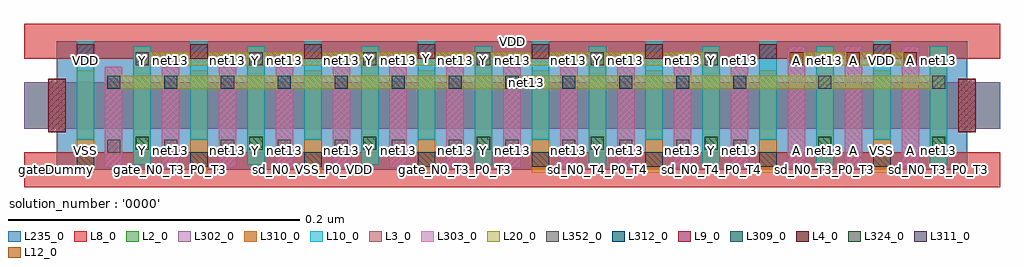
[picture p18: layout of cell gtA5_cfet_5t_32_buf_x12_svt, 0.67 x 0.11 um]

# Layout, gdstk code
import gdstk
lib = gdstk.Library(unit=1e-6, precision=2.5e-10)
def R(c, l, rs):  # rectangles x0, y0, x1, y1
    for r in rs: c.add(gdstk.rectangle(r[:2], r[2:], *l))
def A(c, l, x, y, w, h, nx, ny, dx, dy):  # array of equal rectangles
    R(c, l, [(x+i*dx, y+j*dy, x+i*dx+w, y+j*dy+h) for i in range(nx) for j in range(ny)])
L2_0 = (2, 0)
L3_0 = (3, 0)
L4_0 = (4, 0)
L8_0 = (8, 0)
L9_0 = (9, 0)
L10_0 = (10, 0)
L12_0 = (12, 0)
L20_0 = (20, 0)
L235_0 = (235, 0)
L302_0 = (302, 0)
L303_0 = (303, 0)
L309_0 = (309, 0)
L310_0 = (310, 0)
L311_0 = (311, 0)
L312_0 = (312, 0)
L324_0 = (324, 0)
L352_0 = (352, 0)

gta5_cfet_5t_32_buf_x12_ = lib.new_cell('gtA5_cfet_5t_32_buf_x12_svt')
R(gta5_cfet_5t_32_buf_x12_, L2_0, [(-0.0225,0.028,0.6465,0.06)])
A(gta5_cfet_5t_32_buf_x12_, L3_0, 0.033, 0.0015, 0.012, 0.069, 12, 1, 0.039, 0)
A(gta5_cfet_5t_32_buf_x12_, L3_0, 0.501, 0.0015, 0.012, 0.083, 3, 1, 0.039, 0)
R(gta5_cfet_5t_32_buf_x12_, L3_0, [(-0.006,0.0255,0.006,0.0625), (0.618,0.0255,0.63,0.0625)])
R(gta5_cfet_5t_32_buf_x12_, L4_0, [(-0.006,0.0255,0.006,0.0625), (0.618,0.0255,0.63,0.0625)])
R(gta5_cfet_5t_32_buf_x12_, L8_0, [(-0.0225,-0.012,0.6465,0.012), (-0.0225,0.076,0.6465,0.1)])
A(gta5_cfet_5t_32_buf_x12_, L9_0, 0.0135, 0.076, 0.012, 0.01, 8, 1, 0.078, 0)
A(gta5_cfet_5t_32_buf_x12_, L10_0, 0.0525, 0.0035, 0.012, 0.081, 8, 1, 0.078, 0)
A(gta5_cfet_5t_32_buf_x12_, L10_0, 0.0135, 0.0205, 0.012, 0.0675, 8, 1, 0.078, 0)
A(gta5_cfet_5t_32_buf_x12_, L12_0, 0.5025, 0.0715, 0.009, 0.009, 3, 1, 0.039, 0)
R(gta5_cfet_5t_32_buf_x12_, L20_0, [(0.0345,0.0555,0.609,0.0645), (0.054,0.0715,0.453,0.0805), (0.5025,0.0715,0.5895,0.0805)])
R(gta5_cfet_5t_32_buf_x12_, L235_0, [(0,0,0.624,0.088)])
R(gta5_cfet_5t_32_buf_x12_, L302_0, [(-0.0225,0.028,0.6465,0.06)])
A(gta5_cfet_5t_32_buf_x12_, L303_0, 0.033, 0.0015, 0.012, 0.069, 12, 1, 0.039, 0)
A(gta5_cfet_5t_32_buf_x12_, L303_0, 0.501, 0.0015, 0.012, 0.083, 3, 1, 0.039, 0)
R(gta5_cfet_5t_32_buf_x12_, L303_0, [(-0.006,0.0255,0.006,0.0625), (0.618,0.0255,0.63,0.0625)])
A(gta5_cfet_5t_32_buf_x12_, L309_0, 0.0135, 0.002, 0.012, 0.01, 8, 1, 0.078, 0)
A(gta5_cfet_5t_32_buf_x12_, L310_0, 0.0135, -0.002, 0.012, 0.07, 8, 1, 0.078, 0)
A(gta5_cfet_5t_32_buf_x12_, L310_0, 0.0525, 0.0035, 0.012, 0.081, 8, 1, 0.078, 0)
A(gta5_cfet_5t_32_buf_x12_, L311_0, 0.054, 0.0715, 0.009, 0.009, 6, 1, 0.078, 0)
R(gta5_cfet_5t_32_buf_x12_, L311_0, [(0.522,0.0555,0.531,0.0645), (0.6,0.0555,0.609,0.0645)])
A(gta5_cfet_5t_32_buf_x12_, L312_0, 0.0345, 0.0555, 0.009, 0.009, 12, 1, 0.039, 0)
A(gta5_cfet_5t_32_buf_x12_, L324_0, 0.054, 0.0135, 0.009, 0.009, 8, 1, 0.078, 0)
A(gta5_cfet_5t_32_buf_x12_, L352_0, 0.0345, 0.0115, 0.009, 0.009, 12, 1, 0.039, 0)
gta5_cfet_5t_32_buf_x12_.add(gdstk.Label('net13', (0.3217,0.06), layer=100, texttype=100))
gta5_cfet_5t_32_buf_x12_.add(gdstk.Label('gateDummy', (0,0), layer=103, texttype=103))
gta5_cfet_5t_32_buf_x12_.add(gdstk.Label('sd_N0_VSS_P0_VDD', (0.0195,0), layer=103, texttype=103))
gta5_cfet_5t_32_buf_x12_.add(gdstk.Label('gate_N0_T3_P0_T3', (0.039,0), layer=103, texttype=103))
gta5_cfet_5t_32_buf_x12_.add(gdstk.Label('sd_N0_T4_P0_T4', (0.0585,0), layer=103, texttype=103))
gta5_cfet_5t_32_buf_x12_.add(gdstk.Label('gate_N0_T3_P0_T3', (0.078,0), layer=103, texttype=103))
gta5_cfet_5t_32_buf_x12_.add(gdstk.Label('sd_N0_VSS_P0_VDD', (0.0975,0), layer=103, texttype=103))
gta5_cfet_5t_32_buf_x12_.add(gdstk.Label('gate_N0_T3_P0_T3', (0.117,0), layer=103, texttype=103))
gta5_cfet_5t_32_buf_x12_.add(gdstk.Label('sd_N0_T4_P0_T4', (0.1365,0), layer=103, texttype=103))
gta5_cfet_5t_32_buf_x12_.add(gdstk.Label('gate_N0_T3_P0_T3', (0.156,0), layer=103, texttype=103))
gta5_cfet_5t_32_buf_x12_.add(gdstk.Label('sd_N0_VSS_P0_VDD', (0.1755,0), layer=103, texttype=103))
gta5_cfet_5t_32_buf_x12_.add(gdstk.Label('gate_N0_T3_P0_T3', (0.195,0), layer=103, texttype=103))
gta5_cfet_5t_32_buf_x12_.add(gdstk.Label('sd_N0_T4_P0_T4', (0.2145,0), layer=103, texttype=103))
gta5_cfet_5t_32_buf_x12_.add(gdstk.Label('gate_N0_T3_P0_T3', (0.234,0), layer=103, texttype=103))
gta5_cfet_5t_32_buf_x12_.add(gdstk.Label('sd_N0_VSS_P0_VDD', (0.2535,0), layer=103, texttype=103))
gta5_cfet_5t_32_buf_x12_.add(gdstk.Label('gate_N0_T3_P0_T3', (0.273,0), layer=103, texttype=103))
gta5_cfet_5t_32_buf_x12_.add(gdstk.Label('sd_N0_T4_P0_T4', (0.2925,0), layer=103, texttype=103))
gta5_cfet_5t_32_buf_x12_.add(gdstk.Label('gate_N0_T3_P0_T3', (0.312,0), layer=103, texttype=103))
gta5_cfet_5t_32_buf_x12_.add(gdstk.Label('sd_N0_VSS_P0_VDD', (0.3315,0), layer=103, texttype=103))
gta5_cfet_5t_32_buf_x12_.add(gdstk.Label('gate_N0_T3_P0_T3', (0.351,0), layer=103, texttype=103))
gta5_cfet_5t_32_buf_x12_.add(gdstk.Label('sd_N0_T4_P0_T4', (0.3705,0), layer=103, texttype=103))
gta5_cfet_5t_32_buf_x12_.add(gdstk.Label('gate_N0_T3_P0_T3', (0.39,0), layer=103, texttype=103))
gta5_cfet_5t_32_buf_x12_.add(gdstk.Label('sd_N0_VSS_P0_VDD', (0.4095,0), layer=103, texttype=103))
gta5_cfet_5t_32_buf_x12_.add(gdstk.Label('gate_N0_T3_P0_T3', (0.429,0), layer=103, texttype=103))
gta5_cfet_5t_32_buf_x12_.add(gdstk.Label('sd_N0_T4_P0_T4', (0.4485,0), layer=103, texttype=103))
gta5_cfet_5t_32_buf_x12_.add(gdstk.Label('gate_N0_T3_P0_T3', (0.468,0), layer=103, texttype=103))
gta5_cfet_5t_32_buf_x12_.add(gdstk.Label('sd_N0_VSS_P0_VDD', (0.4875,0), layer=103, texttype=103))
gta5_cfet_5t_32_buf_x12_.add(gdstk.Label('gate_N0_T4_P0_T4', (0.507,0), layer=103, texttype=103))
gta5_cfet_5t_32_buf_x12_.add(gdstk.Label('sd_N0_T3_P0_T3', (0.5265,0), layer=103, texttype=103))
gta5_cfet_5t_32_buf_x12_.add(gdstk.Label('gate_N0_T4_P0_T4', (0.546,0), layer=103, texttype=103))
gta5_cfet_5t_32_buf_x12_.add(gdstk.Label('sd_N0_VSS_P0_VDD', (0.5655,0), layer=103, texttype=103))
gta5_cfet_5t_32_buf_x12_.add(gdstk.Label('gate_N0_T4_P0_T4', (0.585,0), layer=103, texttype=103))
gta5_cfet_5t_32_buf_x12_.add(gdstk.Label('sd_N0_T3_P0_T3', (0.6045,0), layer=103, texttype=103))
gta5_cfet_5t_32_buf_x12_.add(gdstk.Label('gateDummy', (0.624,0), layer=103, texttype=103))
gta5_cfet_5t_32_buf_x12_.add(gdstk.Label('}', (0,-0.0963), layer=104, texttype=104))
gta5_cfet_5t_32_buf_x12_.add(gdstk.Label('  power : None', (0,-0.0875), layer=104, texttype=104))
gta5_cfet_5t_32_buf_x12_.add(gdstk.Label('  performance : None', (0,-0.0788), layer=104, texttype=104))
gta5_cfet_5t_32_buf_x12_.add(gdstk.Label("  solution_hash : '9002246351452432056'", (0,-0.07), layer=104, texttype=104))
gta5_cfet_5t_32_buf_x12_.add(gdstk.Label('  number_m2 : 0', (0,-0.0612), layer=104, texttype=104))
gta5_cfet_5t_32_buf_x12_.add(gdstk.Label('  number_m1 : 0', (0,-0.0525), layer=104, texttype=104))
gta5_cfet_5t_32_buf_x12_.add(gdstk.Label('  number_m0cuts : 0', (0,-0.0438), layer=104, texttype=104))
gta5_cfet_5t_32_buf_x12_.add(gdstk.Label('  number_m0 : 3', (0,-0.035), layer=104, texttype=104))
gta5_cfet_5t_32_buf_x12_.add(gdstk.Label("  solution_number : '0000'", (0,-0.0262), layer=104, texttype=104))
gta5_cfet_5t_32_buf_x12_.add(gdstk.Label("  placement_id : '15716243056672750085'", (0,-0.0175), layer=104, texttype=104))
gta5_cfet_5t_32_buf_x12_.add(gdstk.Label('{', (0,-0.0088), layer=104, texttype=104))
gta5_cfet_5t_32_buf_x12_.add(gdstk.Label('VSS', (0.0195,0.0132), layer=105, texttype=105))
gta5_cfet_5t_32_buf_x12_.add(gdstk.Label('net13', (0.039,0.0132), layer=105, texttype=105))
gta5_cfet_5t_32_buf_x12_.add(gdstk.Label('Y', (0.0585,0.0132), layer=105, texttype=105))
gta5_cfet_5t_32_buf_x12_.add(gdstk.Label('net13', (0.078,0.0132), layer=105, texttype=105))
gta5_cfet_5t_32_buf_x12_.add(gdstk.Label('VSS', (0.0975,0.0132), layer=105, texttype=105))
gta5_cfet_5t_32_buf_x12_.add(gdstk.Label('net13', (0.117,0.0132), layer=105, texttype=105))
gta5_cfet_5t_32_buf_x12_.add(gdstk.Label('Y', (0.1365,0.0132), layer=105, texttype=105))
gta5_cfet_5t_32_buf_x12_.add(gdstk.Label('net13', (0.156,0.0132), layer=105, texttype=105))
gta5_cfet_5t_32_buf_x12_.add(gdstk.Label('VSS', (0.1755,0.0132), layer=105, texttype=105))
gta5_cfet_5t_32_buf_x12_.add(gdstk.Label('net13', (0.195,0.0132), layer=105, texttype=105))
gta5_cfet_5t_32_buf_x12_.add(gdstk.Label('Y', (0.2145,0.0132), layer=105, texttype=105))
gta5_cfet_5t_32_buf_x12_.add(gdstk.Label('net13', (0.234,0.0132), layer=105, texttype=105))
gta5_cfet_5t_32_buf_x12_.add(gdstk.Label('VSS', (0.2535,0.0132), layer=105, texttype=105))
gta5_cfet_5t_32_buf_x12_.add(gdstk.Label('net13', (0.273,0.0132), layer=105, texttype=105))
gta5_cfet_5t_32_buf_x12_.add(gdstk.Label('Y', (0.2925,0.0132), layer=105, texttype=105))
gta5_cfet_5t_32_buf_x12_.add(gdstk.Label('net13', (0.312,0.0132), layer=105, texttype=105))
gta5_cfet_5t_32_buf_x12_.add(gdstk.Label('VSS', (0.3315,0.0132), layer=105, texttype=105))
gta5_cfet_5t_32_buf_x12_.add(gdstk.Label('net13', (0.351,0.0132), layer=105, texttype=105))
gta5_cfet_5t_32_buf_x12_.add(gdstk.Label('Y', (0.3705,0.0132), layer=105, texttype=105))
gta5_cfet_5t_32_buf_x12_.add(gdstk.Label('net13', (0.39,0.0132), layer=105, texttype=105))
gta5_cfet_5t_32_buf_x12_.add(gdstk.Label('VSS', (0.4095,0.0132), layer=105, texttype=105))
gta5_cfet_5t_32_buf_x12_.add(gdstk.Label('net13', (0.429,0.0132), layer=105, texttype=105))
gta5_cfet_5t_32_buf_x12_.add(gdstk.Label('Y', (0.4485,0.0132), layer=105, texttype=105))
gta5_cfet_5t_32_buf_x12_.add(gdstk.Label('net13', (0.468,0.0132), layer=105, texttype=105))
gta5_cfet_5t_32_buf_x12_.add(gdstk.Label('VSS', (0.4875,0.0132), layer=105, texttype=105))
gta5_cfet_5t_32_buf_x12_.add(gdstk.Label('A', (0.507,0.0132), layer=105, texttype=105))
gta5_cfet_5t_32_buf_x12_.add(gdstk.Label('net13', (0.5265,0.0132), layer=105, texttype=105))
gta5_cfet_5t_32_buf_x12_.add(gdstk.Label('A', (0.546,0.0132), layer=105, texttype=105))
gta5_cfet_5t_32_buf_x12_.add(gdstk.Label('VSS', (0.5655,0.0132), layer=105, texttype=105))
gta5_cfet_5t_32_buf_x12_.add(gdstk.Label('A', (0.585,0.0132), layer=105, texttype=105))
gta5_cfet_5t_32_buf_x12_.add(gdstk.Label('net13', (0.6045,0.0132), layer=105, texttype=105))
gta5_cfet_5t_32_buf_x12_.add(gdstk.Label('VDD', (0.0195,0.0747), layer=105, texttype=105))
gta5_cfet_5t_32_buf_x12_.add(gdstk.Label('net13', (0.039,0.0747), layer=105, texttype=105))
gta5_cfet_5t_32_buf_x12_.add(gdstk.Label('Y', (0.0585,0.0747), layer=105, texttype=105))
gta5_cfet_5t_32_buf_x12_.add(gdstk.Label('net13', (0.078,0.0747), layer=105, texttype=105))
gta5_cfet_5t_32_buf_x12_.add(gdstk.Label('VDD', (0.0975,0.0747), layer=105, texttype=105))
gta5_cfet_5t_32_buf_x12_.add(gdstk.Label('net13', (0.117,0.0747), layer=105, texttype=105))
gta5_cfet_5t_32_buf_x12_.add(gdstk.Label('Y', (0.1365,0.0747), layer=105, texttype=105))
gta5_cfet_5t_32_buf_x12_.add(gdstk.Label('net13', (0.156,0.0747), layer=105, texttype=105))
gta5_cfet_5t_32_buf_x12_.add(gdstk.Label('VDD', (0.1755,0.0747), layer=105, texttype=105))
gta5_cfet_5t_32_buf_x12_.add(gdstk.Label('net13', (0.195,0.0747), layer=105, texttype=105))
gta5_cfet_5t_32_buf_x12_.add(gdstk.Label('Y', (0.2145,0.0747), layer=105, texttype=105))
gta5_cfet_5t_32_buf_x12_.add(gdstk.Label('net13', (0.234,0.0747), layer=105, texttype=105))
gta5_cfet_5t_32_buf_x12_.add(gdstk.Label('VDD', (0.2535,0.0747), layer=105, texttype=105))
gta5_cfet_5t_32_buf_x12_.add(gdstk.Label('net13', (0.273,0.0747), layer=105, texttype=105))
gta5_cfet_5t_32_buf_x12_.add(gdstk.Label('Y', (0.2925,0.0747), layer=105, texttype=105))
gta5_cfet_5t_32_buf_x12_.add(gdstk.Label('net13', (0.312,0.0747), layer=105, texttype=105))
gta5_cfet_5t_32_buf_x12_.add(gdstk.Label('VDD', (0.3315,0.0747), layer=105, texttype=105))
gta5_cfet_5t_32_buf_x12_.add(gdstk.Label('net13', (0.351,0.0747), layer=105, texttype=105))
gta5_cfet_5t_32_buf_x12_.add(gdstk.Label('Y', (0.3705,0.0747), layer=105, texttype=105))
gta5_cfet_5t_32_buf_x12_.add(gdstk.Label('net13', (0.39,0.0747), layer=105, texttype=105))
gta5_cfet_5t_32_buf_x12_.add(gdstk.Label('VDD', (0.4095,0.0747), layer=105, texttype=105))
gta5_cfet_5t_32_buf_x12_.add(gdstk.Label('net13', (0.429,0.0747), layer=105, texttype=105))
gta5_cfet_5t_32_buf_x12_.add(gdstk.Label('Y', (0.4485,0.0747), layer=105, texttype=105))
gta5_cfet_5t_32_buf_x12_.add(gdstk.Label('net13', (0.468,0.0747), layer=105, texttype=105))
gta5_cfet_5t_32_buf_x12_.add(gdstk.Label('VDD', (0.4875,0.0747), layer=105, texttype=105))
gta5_cfet_5t_32_buf_x12_.add(gdstk.Label('A', (0.507,0.0747), layer=105, texttype=105))
gta5_cfet_5t_32_buf_x12_.add(gdstk.Label('net13', (0.5265,0.0747), layer=105, texttype=105))
gta5_cfet_5t_32_buf_x12_.add(gdstk.Label('A', (0.546,0.0747), layer=105, texttype=105))
gta5_cfet_5t_32_buf_x12_.add(gdstk.Label('VDD', (0.5655,0.0747), layer=105, texttype=105))
gta5_cfet_5t_32_buf_x12_.add(gdstk.Label('A', (0.585,0.0747), layer=105, texttype=105))
gta5_cfet_5t_32_buf_x12_.add(gdstk.Label('net13', (0.6045,0.0747), layer=105, texttype=105))
gta5_cfet_5t_32_buf_x12_.add(gdstk.Label('VSS', (0.312,0), layer=8, texttype=0))
gta5_cfet_5t_32_buf_x12_.add(gdstk.Label('VDD', (0.312,0.088), layer=8, texttype=0))
gta5_cfet_5t_32_buf_x12_.add(gdstk.Label('Y', (0.2535,0.076), layer=20, texttype=251))
gta5_cfet_5t_32_buf_x12_.add(gdstk.Label('A', (0.546,0.076), layer=20, texttype=251))
gta5_cfet_5t_32_buf_x12_.add(gdstk.Label('gtA5_cfet_5t_32_buf_x12_rvt_0', (0,0), layer=235, texttype=0))

lib.write_gds('gtA5_cfet_5t_32_buf_x12_svt.gds')
